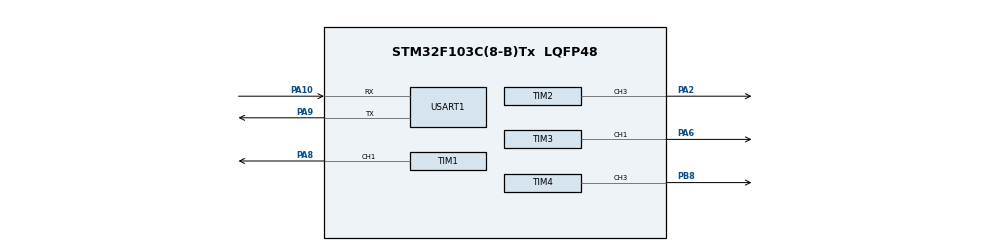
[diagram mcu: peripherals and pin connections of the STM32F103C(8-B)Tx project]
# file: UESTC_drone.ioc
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Mcu.Family=STM32F1
Mcu.Name=STM32F103C(8-B)Tx
Mcu.Package=LQFP48
NVIC.PriorityGroup=NVIC_PRIORITYGROUP_4
NVIC.RTC_IRQn=true\:1\:0\:true\:false\:true\:true\:true\:true
NVIC.USART1_IRQn=true\:0\:0\:false\:false\:true\:true\:true\:true
PA10.Mode=Asynchronous
PA10.Signal=USART1_RX
PA13.Mode=Serial_Wire
PA13.Signal=SYS_JTMS-SWDIO
PA14.Mode=Serial_Wire
PA14.Signal=SYS_JTCK-SWCLK
PA2.Signal=S_TIM2_CH3
PA6.Signal=S_TIM3_CH1
PA8.Signal=S_TIM1_CH1
PA9.Mode=Asynchronous
PA9.Signal=USART1_TX
PB8.Signal=S_TIM4_CH3
PD0-OSC_IN.Mode=HSE-External-Oscillator
PD0-OSC_IN.Signal=RCC_OSC_IN
PD1-OSC_OUT.Mode=HSE-External-Oscillator
PD1-OSC_OUT.Signal=RCC_OSC_OUT
ProjectManager.HeapSize=0x200
ProjectManager.StackSize=0x400
ProjectManager.TargetToolchain=STM32CubeIDE
RCC.APB1Freq_Value=8000000
RCC.APB2Freq_Value=8000000
RCC.HSEDivPLL=RCC_HSE_PREDIV_DIV2
RCC.PLLSourceVirtual=RCC_PLLSOURCE_HSE
RCC.SYSCLKSource=RCC_SYSCLKSOURCE_HSE
RCC.USBFreq_Value=8000000
SH.S_TIM1_CH1.0=TIM1_CH1,PWM Generation1 CH1
SH.S_TIM2_CH3.0=TIM2_CH3,PWM Generation3 CH3
SH.S_TIM3_CH1.0=TIM3_CH1,PWM Generation1 CH1
SH.S_TIM4_CH3.0=TIM4_CH3,PWM Generation3 CH3
TIM1.Channel-PWM\ Generation1\ CH1=TIM_CHANNEL_1
TIM1.Period=10-1
TIM1.Prescaler=20-1
TIM2.Channel-PWM\ Generation3\ CH3=TIM_CHANNEL_3
TIM2.Period=10-1
TIM2.Prescaler=20-1
TIM3.Channel-PWM\ Generation1\ CH1=TIM_CHANNEL_1
TIM3.Period=10-1
TIM3.Prescaler=20-1
TIM4.Channel-PWM\ Generation3\ CH3=TIM_CHANNEL_3
TIM4.Period=10-1
TIM4.Prescaler=20-1
USART1.VirtualMode=VM_ASYNC
VP_RTC_VS_RTC_Activate.Mode=RTC_Enabled
board=custom

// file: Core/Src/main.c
/* USER CODE BEGIN Header */
/**
  ******************************************************************************
  * @file           : main.c
  * @brief          : Main program body
  ******************************************************************************
  * @attention
  *
  * Copyright (c) 2025 STMicroelectronics.
  * All rights reserved.
  *
  * This software is licensed under terms that can be found in the LICENSE file
  * in the root directory of this software component.
  * If no LICENSE file comes with this software, it is provided AS-IS.
  *
  ******************************************************************************
  */
/* USER CODE END Header */
#include "main.h"

RTC_HandleTypeDef hrtc;

TIM_HandleTypeDef htim1;
TIM_HandleTypeDef htim2;
TIM_HandleTypeDef htim3;
TIM_HandleTypeDef htim4;

UART_HandleTypeDef huart1;

/* USER CODE BEGIN PV */
uint8_t rx_it_buffer;
/* USER CODE END PV */

void SystemClock_Config(void);
static void MX_GPIO_Init(void);
static void MX_TIM1_Init(void);
static void MX_TIM2_Init(void);
static void MX_TIM3_Init(void);
static void MX_TIM4_Init(void);
static void MX_USART1_UART_Init(void);
static void MX_RTC_Init(void);

int main(void)
{

  /* MCU Configuration--------------------------------------------------------*/

  /* Reset of all peripherals, Initializes the Flash interface and the Systick. */
  HAL_Init();

  /* Configure the system clock */
  SystemClock_Config();

  /* Initialize all configured peripherals */
  MX_GPIO_Init();
  MX_TIM1_Init();
  MX_TIM2_Init();
  MX_TIM3_Init();
  MX_TIM4_Init();
  MX_USART1_UART_Init();
  MX_RTC_Init();
  /* USER CODE BEGIN 2 */
  //Config de l'USART1 pour le BLE RX
  HAL_UART_Receive_IT(&huart_BLE, &rx_it_buffer, 1);
  // chaque caractère va être écrit dans le buff et une interruption sera envoyée à HAL_UART_RxCpltCallback

  //Config du module BLE
  config_BLE_drone();
  //Config moteurs
  DC_Motor_Init();
  /* USER CODE END 2 */

  /* Infinite loop */
  /* USER CODE BEGIN WHILE */
  while (1)
  {

	  if (MODE_CHOICE == MODE_NORMAL){		//pour choisir le mode, allez dans mainloop.h
		  mainloop_drone_control();
	  }
	  else if (MODE_CHOICE == MODE_TEST_JOYSTICKS){
		  testloop_drone_control();
	  }
	  else if (MODE_CHOICE == MODE_TEST_20_PERCENT){
		  if (buttons.FRONT_OFFSET_BUTTON && flags.BLE_CONNECTED){
			  DC_Motor_SetDuty(MOTEUR_AVANT_DROIT, 20);
			  DC_Motor_SetDuty(MOTEUR_AVANT_GAUCHE, 20);
			  DC_Motor_SetDuty(MOTEUR_ARRIERE_DROIT, 20);
			  DC_Motor_SetDuty(MOTEUR_ARRIERE_GAUCHE, 20);
			  buttons.FRONT_OFFSET_BUTTON = false;

		  }

		  if (buttons.EMERGENCY_STOP_BUTTON && flags.BLE_CONNECTED){
			  DC_Motor_SetDuty(MOTEUR_AVANT_DROIT, 0);
			  DC_Motor_SetDuty(MOTEUR_AVANT_GAUCHE, 0);
			  DC_Motor_SetDuty(MOTEUR_ARRIERE_DROIT, 0);
			  DC_Motor_SetDuty(MOTEUR_ARRIERE_GAUCHE, 0);
			  buttons.EMERGENCY_STOP_BUTTON = false;

		  }
	  	  }
	  else {
		  //ne rien faire
	  }

    /* USER CODE END +WHILE */

  }
}

void SystemClock_Config(void)
{
  RCC_OscInitTypeDef RCC_OscInitStruct = {0};
  RCC_ClkInitTypeDef RCC_ClkInitStruct = {0};
  RCC_PeriphCLKInitTypeDef PeriphClkInit = {0};

  /** Initializes the RCC Oscillators according to the specified parameters
  * in the RCC_OscInitTypeDef structure.
  */
  RCC_OscInitStruct.OscillatorType = RCC_OSCILLATORTYPE_LSI|RCC_OSCILLATORTYPE_HSE;
  RCC_OscInitStruct.HSEState = RCC_HSE_ON;
  RCC_OscInitStruct.LSIState = RCC_LSI_ON;
  RCC_OscInitStruct.PLL.PLLState = RCC_PLL_NONE;
  if (HAL_RCC_OscConfig(&RCC_OscInitStruct) != HAL_OK)
  {
    Error_Handler();
  }

  /** Initializes the CPU, AHB and APB buses clocks
  */
  RCC_ClkInitStruct.ClockType = RCC_CLOCKTYPE_HCLK|RCC_CLOCKTYPE_SYSCLK
                              |RCC_CLOCKTYPE_PCLK1|RCC_CLOCKTYPE_PCLK2;
  RCC_ClkInitStruct.SYSCLKSource = RCC_SYSCLKSOURCE_HSE;
  RCC_ClkInitStruct.AHBCLKDivider = RCC_SYSCLK_DIV1;
  RCC_ClkInitStruct.APB1CLKDivider = RCC_HCLK_DIV1;
  RCC_ClkInitStruct.APB2CLKDivider = RCC_HCLK_DIV1;

  if (HAL_RCC_ClockConfig(&RCC_ClkInitStruct, FLASH_LATENCY_0) != HAL_OK)
  {
    Error_Handler();
  }
  PeriphClkInit.PeriphClockSelection = RCC_PERIPHCLK_RTC;
  PeriphClkInit.RTCClockSelection = RCC_RTCCLKSOURCE_LSI;
  if (HAL_RCCEx_PeriphCLKConfig(&PeriphClkInit) != HAL_OK)
  {
    Error_Handler();
  }
}

static void MX_RTC_Init(void)
{

  /** Initialize RTC Only
  */
  hrtc.Instance = RTC;
  hrtc.Init.AsynchPrediv = RTC_AUTO_1_SECOND;
  hrtc.Init.OutPut = RTC_OUTPUTSOURCE_ALARM;
  if (HAL_RTC_Init(&hrtc) != HAL_OK)
  {
    Error_Handler();
  }

}

static void MX_TIM1_Init(void)
{

  TIM_MasterConfigTypeDef sMasterConfig = {0};
  TIM_OC_InitTypeDef sConfigOC = {0};
  TIM_BreakDeadTimeConfigTypeDef sBreakDeadTimeConfig = {0};

  htim1.Instance = TIM1;
  htim1.Init.Prescaler = 20-1;
  htim1.Init.CounterMode = TIM_COUNTERMODE_UP;
  htim1.Init.Period = 10-1;
  htim1.Init.ClockDivision = TIM_CLOCKDIVISION_DIV1;
  htim1.Init.RepetitionCounter = 0;
  htim1.Init.AutoReloadPreload = TIM_AUTORELOAD_PRELOAD_DISABLE;
  if (HAL_TIM_PWM_Init(&htim1) != HAL_OK)
  {
    Error_Handler();
  }
  sMasterConfig.MasterOutputTrigger = TIM_TRGO_RESET;
  sMasterConfig.MasterSlaveMode = TIM_MASTERSLAVEMODE_DISABLE;
  if (HAL_TIMEx_MasterConfigSynchronization(&htim1, &sMasterConfig) != HAL_OK)
  {
    Error_Handler();
  }
  sConfigOC.OCMode = TIM_OCMODE_PWM1;
  sConfigOC.Pulse = 0;
  sConfigOC.OCPolarity = TIM_OCPOLARITY_HIGH;
  sConfigOC.OCNPolarity = TIM_OCNPOLARITY_HIGH;
  sConfigOC.OCFastMode = TIM_OCFAST_DISABLE;
  sConfigOC.OCIdleState = TIM_OCIDLESTATE_RESET;
  sConfigOC.OCNIdleState = TIM_OCNIDLESTATE_RESET;
  if (HAL_TIM_PWM_ConfigChannel(&htim1, &sConfigOC, TIM_CHANNEL_1) != HAL_OK)
  {
    Error_Handler();
  }
  sBreakDeadTimeConfig.OffStateRunMode = TIM_OSSR_DISABLE;
  sBreakDeadTimeConfig.OffStateIDLEMode = TIM_OSSI_DISABLE;
  sBreakDeadTimeConfig.LockLevel = TIM_LOCKLEVEL_OFF;
  sBreakDeadTimeConfig.DeadTime = 0;
  sBreakDeadTimeConfig.BreakState = TIM_BREAK_DISABLE;
  sBreakDeadTimeConfig.BreakPolarity = TIM_BREAKPOLARITY_HIGH;
  sBreakDeadTimeConfig.AutomaticOutput = TIM_AUTOMATICOUTPUT_DISABLE;
  if (HAL_TIMEx_ConfigBreakDeadTime(&htim1, &sBreakDeadTimeConfig) != HAL_OK)
  {
    Error_Handler();
  }
  HAL_TIM_MspPostInit(&htim1);

}

static void MX_TIM2_Init(void)
{

  TIM_MasterConfigTypeDef sMasterConfig = {0};
  TIM_OC_InitTypeDef sConfigOC = {0};

  htim2.Instance = TIM2;
  htim2.Init.Prescaler = 20-1;
  htim2.Init.CounterMode = TIM_COUNTERMODE_UP;
  htim2.Init.Period = 10-1;
  htim2.Init.ClockDivision = TIM_CLOCKDIVISION_DIV1;
  htim2.Init.AutoReloadPreload = TIM_AUTORELOAD_PRELOAD_DISABLE;
  if (HAL_TIM_PWM_Init(&htim2) != HAL_OK)
  {
    Error_Handler();
  }
  sMasterConfig.MasterOutputTrigger = TIM_TRGO_RESET;
  sMasterConfig.MasterSlaveMode = TIM_MASTERSLAVEMODE_DISABLE;
  if (HAL_TIMEx_MasterConfigSynchronization(&htim2, &sMasterConfig) != HAL_OK)
  {
    Error_Handler();
  }
  sConfigOC.OCMode = TIM_OCMODE_PWM1;
  sConfigOC.Pulse = 0;
  sConfigOC.OCPolarity = TIM_OCPOLARITY_HIGH;
  sConfigOC.OCFastMode = TIM_OCFAST_DISABLE;
  if (HAL_TIM_PWM_ConfigChannel(&htim2, &sConfigOC, TIM_CHANNEL_3) != HAL_OK)
  {
    Error_Handler();
  }
  HAL_TIM_MspPostInit(&htim2);

}

static void MX_TIM3_Init(void)
{

  TIM_MasterConfigTypeDef sMasterConfig = {0};
  TIM_OC_InitTypeDef sConfigOC = {0};

  htim3.Instance = TIM3;
  htim3.Init.Prescaler = 20-1;
  htim3.Init.CounterMode = TIM_COUNTERMODE_UP;
  htim3.Init.Period = 10-1;
  htim3.Init.ClockDivision = TIM_CLOCKDIVISION_DIV1;
  htim3.Init.AutoReloadPreload = TIM_AUTORELOAD_PRELOAD_DISABLE;
  if (HAL_TIM_PWM_Init(&htim3) != HAL_OK)
  {
    Error_Handler();
  }
  sMasterConfig.MasterOutputTrigger = TIM_TRGO_RESET;
  sMasterConfig.MasterSlaveMode = TIM_MASTERSLAVEMODE_DISABLE;
  if (HAL_TIMEx_MasterConfigSynchronization(&htim3, &sMasterConfig) != HAL_OK)
  {
    Error_Handler();
  }
  sConfigOC.OCMode = TIM_OCMODE_PWM1;
  sConfigOC.Pulse = 0;
  sConfigOC.OCPolarity = TIM_OCPOLARITY_HIGH;
  sConfigOC.OCFastMode = TIM_OCFAST_DISABLE;
  if (HAL_TIM_PWM_ConfigChannel(&htim3, &sConfigOC, TIM_CHANNEL_1) != HAL_OK)
  {
    Error_Handler();
  }
  HAL_TIM_MspPostInit(&htim3);

}

static void MX_TIM4_Init(void)
{

  TIM_MasterConfigTypeDef sMasterConfig = {0};
  TIM_OC_InitTypeDef sConfigOC = {0};

  htim4.Instance = TIM4;
  htim4.Init.Prescaler = 20-1;
  htim4.Init.CounterMode = TIM_COUNTERMODE_UP;
  htim4.Init.Period = 10-1;
  htim4.Init.ClockDivision = TIM_CLOCKDIVISION_DIV1;
  htim4.Init.AutoReloadPreload = TIM_AUTORELOAD_PRELOAD_DISABLE;
  if (HAL_TIM_PWM_Init(&htim4) != HAL_OK)
  {
    Error_Handler();
  }
  sMasterConfig.MasterOutputTrigger = TIM_TRGO_RESET;
  sMasterConfig.MasterSlaveMode = TIM_MASTERSLAVEMODE_DISABLE;
  if (HAL_TIMEx_MasterConfigSynchronization(&htim4, &sMasterConfig) != HAL_OK)
  {
    Error_Handler();
  }
  sConfigOC.OCMode = TIM_OCMODE_PWM1;
  sConfigOC.Pulse = 0;
  sConfigOC.OCPolarity = TIM_OCPOLARITY_HIGH;
  sConfigOC.OCFastMode = TIM_OCFAST_DISABLE;
  if (HAL_TIM_PWM_ConfigChannel(&htim4, &sConfigOC, TIM_CHANNEL_3) != HAL_OK)
  {
    Error_Handler();
  }
  HAL_TIM_MspPostInit(&htim4);

}

static void MX_USART1_UART_Init(void)
{

  huart1.Instance = USART1;
  huart1.Init.BaudRate = 115200;
  huart1.Init.WordLength = UART_WORDLENGTH_8B;
  huart1.Init.StopBits = UART_STOPBITS_1;
  huart1.Init.Parity = UART_PARITY_NONE;
  huart1.Init.Mode = UART_MODE_TX_RX;
  huart1.Init.HwFlowCtl = UART_HWCONTROL_NONE;
  huart1.Init.OverSampling = UART_OVERSAMPLING_16;
  if (HAL_UART_Init(&huart1) != HAL_OK)
  {
    Error_Handler();
  }

}

static void MX_GPIO_Init(void)
{

  /* GPIO Ports Clock Enable */
  __HAL_RCC_GPIOD_CLK_ENABLE();
  __HAL_RCC_GPIOA_CLK_ENABLE();
  __HAL_RCC_GPIOB_CLK_ENABLE();

}

/* USER CODE BEGIN 4 */

////////////////////////////////////////////////////////////////// CODE RX

void HAL_UART_RxCpltCallback(UART_HandleTypeDef *huart) {
	static int receive_index = 0;
	static bool debut_de_trame = false;
	static bool fin_de_trame = false;
    if (huart->Instance == USART1) {
        // Copier le caractère dans le buffer
        if (receive_index < sizeof(receive_buffer) - 1) {
        	if(debut_de_trame){						//debug
            receive_buffer[receive_index++] = (char)rx_it_buffer;
        	}
            if((char)rx_it_buffer == '\n'){
            	if (!debut_de_trame){
            		debut_de_trame = true;
            	}
            	else{
            		fin_de_trame = true;
            	}

            }
        }
        // Vérifier si la trame est terminée
        if (fin_de_trame) {
        	process_trame_rx(receive_buffer);  // traite la trame
        	memset(receive_buffer, 0, sizeof(receive_buffer));
            receive_index = 0;              // réinitialise l'index
            debut_de_trame = false;
            fin_de_trame = false;
            rx_it_buffer = 0;
        }
        // Remet à écouter un octet
        HAL_UART_Receive_IT(&huart_BLE, &rx_it_buffer, 1);
    }
}

//void HAL_UART_RxCpltCallback(UART_HandleTypeDef *huart) {
//    static int receive_index = 0;
//    static bool debut_de_trame = false;
//    static bool fin_de_trame = false;
//    static bool command_at = false;
//    static bool trame_manette = false;
//
//    if (huart->Instance == USART1) {
//        // Ne pas dépasser la taille du buffer
//        if (receive_index < sizeof(receive_buffer) - 1) {
//
//            // Marquage du début de trame manette
//            if ((uint8_t)rx_it_buffer == HEADER_BYTE && !debut_de_trame) {
//                trame_manette = true;
//                debut_de_trame = true;
//            }
//
//            // Marquage de fin de trame manette
//            if ((uint8_t)rx_it_buffer == FOOTER_BYTE) {
//                fin_de_trame = true;
//            }
//
//            // Stockage dans le bon buffer
//            if (debut_de_trame) {
//                if (trame_manette) {
//                    receive_buffer_int8[receive_index++] = rx_it_buffer;
//                }
//                if (command_at) {
//                    receive_buffer[receive_index++] = (char)rx_it_buffer;
//                }
//            }
//            // Marquage du début de trame AT
//            if ((char)rx_it_buffer == '\n') { //je met ça ici pour ne pas tenir compte des premiers \r\n
//                if (!debut_de_trame) {
//                    command_at = true;
//                    debut_de_trame = true;
//                } else {
//                    fin_de_trame = true;
//                }
//            }
//
//            // Traitement trame AT
//            if (fin_de_trame && command_at) {
//                process_trame_rx(receive_buffer);
//                memset(receive_buffer, 0, sizeof(receive_buffer));
//                receive_index = 0;
//                debut_de_trame = false;
//                fin_de_trame = false;
//                command_at = false;
//                rx_it_buffer = 0;
//            }
//
//            // Traitement trame manette
//            if (fin_de_trame && trame_manette) {
//                process_trame_manette(receive_buffer_int8);
//                memset(receive_buffer_int8, 0, sizeof(receive_buffer));
//                receive_index = 0;
//                debut_de_trame = false;
//                fin_de_trame = false;
//                trame_manette = false;
//                rx_it_buffer = 0;
//            }
//            if (fin_de_trame){
//            memset(receive_buffer_int8, 0, sizeof(receive_buffer)); //debug
//            }
//        }
//
//        // Re-armement de l’interruption
//        HAL_UART_Receive_IT(&huart_BLE, &rx_it_buffer, 1);
//    }
//}

////////////////////////////////////////////////////////////////// CODE RX

/* USER CODE END 4 */

void Error_Handler(void)
{
  __disable_irq();
  while (1)
  {
  }
}
